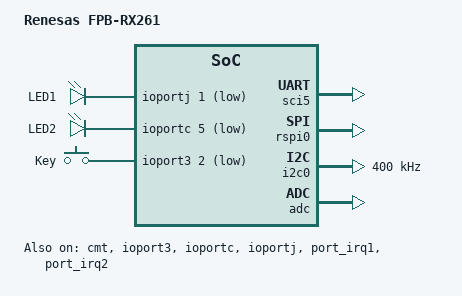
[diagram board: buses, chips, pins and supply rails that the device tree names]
/*
 * Copyright (c) 2025 Renesas Electronics Corporation
 *
 * SPDX-License-Identifier: Apache-2.0
 */

/dts-v1/;

#include <renesas/r5f52618bgfp.dtsi>
#include <zephyr/dt-bindings/gpio/gpio.h>
#include "fpb_rx261-pinctrl.dtsi"
#include <zephyr/dt-bindings/adc/adc.h>
#include <zephyr/dt-bindings/input/input-event-codes.h>

/ {
	model = "Renesas FPB-RX261";
	compatible = "renesas,fpb_rx261";

	chosen {
		zephyr,sram = &sram0;
		zephyr,flash = &code_flash;
		zephyr,flash-controller = &flash;
		zephyr,console = &uart5;
		zephyr,shell-uart = &uart5;
	};

	leds {
		compatible = "gpio-leds";

		led1: led1 {
			gpios = <&ioportj 1 GPIO_ACTIVE_LOW>;
			label = "LED1";
		};

		led2: led2 {
			gpios = <&ioportc 5 GPIO_ACTIVE_LOW>;
			label = "LED2";
		};
	};

	buttons {
		compatible = "gpio-keys";

		sw1: button1 {
			label = "Key";
			gpios = <&ioport3 2 (GPIO_PULL_UP | GPIO_ACTIVE_LOW)>;
			zephyr,code = <INPUT_KEY_0>;
		};
	};

	aliases {
		led0 = &led1;
		led1 = &led2;

		sw0 = &sw1;
	};
};

&subclk {
	status = "okay";
};

&cmt {
	clock-frequency = <DT_FREQ_M(4)>;
	status = "okay";
};

&pclkblock {
	clocks = <&hoco>;
};

&clkout {
	clocks = <&hoco>;
};

&uclk {
	clocks = <&hoco>;
};

&ioport3 {
	status = "okay";
};

&ioportc {
	status = "okay";
};

&ioportj {
	status = "okay";
};

&sci5 {
	pinctrl-0 = <&sci5_default>;
	pinctrl-names = "default";
	status = "okay";

	uart5: uart {
		current-speed = <115200>;
		status = "okay";
	};
};

&rspi0 {
	pinctrl-0 = <&rspi0_default>;
	pinctrl-names = "default";
	ssl-assert = <0>;
	status = "okay";
};

&data_flash {
	partitions {
		compatible = "fixed-partitions";
		#address-cells = <1>;
		#size-cells = <1>;
		ranges;

		storage_partition: partition@0 {
			label = "storage";
			reg = <0x0 DT_SIZE_K(8)>;
		};
	};
};

&i2c0 {
	pinctrl-0 = <&i2c0_default>;
	pinctrl-names = "default";
	clock-frequency = <DT_FREQ_K(400)>;
	status = "okay";
};

&adc {
	pinctrl-0 = <&adc_default>;
	pinctrl-names = "default";
	status = "okay";
};

&port_irq1 {
	status = "okay";
};

&port_irq2 {
	status = "okay";
};
